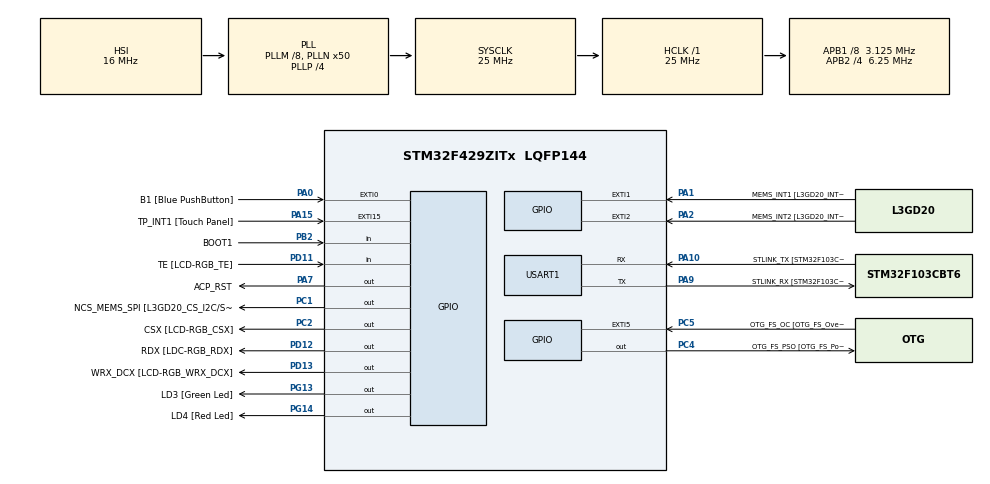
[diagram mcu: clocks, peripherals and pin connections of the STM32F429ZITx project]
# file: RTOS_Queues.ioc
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FREERTOS.Tasks01=defaultTask,0,128,StartDefaultTask,Default,NULL,Dynamic,NULL,NULL
Mcu.Family=STM32F4
Mcu.Name=STM32F429ZITx
Mcu.Package=LQFP144
NVIC.PriorityGroup=NVIC_PRIORITYGROUP_4
NVIC.TIM5_IRQn=true\:15\:0\:false\:false\:true\:false\:false\:true\:true
NVIC.TimeBase=TIM5_IRQn
NVIC.TimeBaseIP=TIM5
NVIC.USART1_IRQn=true\:5\:0\:false\:false\:true\:true\:true\:true\:true
PA0/WKUP.GPIO_Label=B1 [Blue PushButton]
PA0/WKUP.GPIO_ModeDefaultEXTI=GPIO_MODE_EVT_RISING
PA0/WKUP.GPIO_PuPd=GPIO_NOPULL
PA0/WKUP.Signal=GPXTI0
PA1.GPIO_Label=MEMS_INT1 [L3GD20_INT1]
PA1.GPIO_ModeDefaultEXTI=GPIO_MODE_EVT_RISING
PA1.GPIO_PuPd=GPIO_NOPULL
PA1.Signal=GPXTI1
PA10.GPIO_Label=STLINK_TX [STM32F103CBT6_PA2]
PA10.Mode=Asynchronous
PA10.Signal=USART1_RX
PA11.GPIO_Label=R4
PA11.GPIO_Mode=GPIO_MODE_AF_PP
PA11.GPIO_PuPd=GPIO_NOPULL
PA11.GPIO_Speed=GPIO_SPEED_FREQ_LOW
PA11.Signal=LTDC_R4
PA12.GPIO_Label=R5
PA12.GPIO_Mode=GPIO_MODE_AF_PP
PA12.GPIO_PuPd=GPIO_NOPULL
PA12.GPIO_Speed=GPIO_SPEED_FREQ_LOW
PA12.Signal=LTDC_R5
PA13.GPIO_Label=SWDIO
PA13.Signal=SYS_JTMS-SWDIO
PA14.GPIO_Label=SWCLK
PA14.Signal=SYS_JTCK-SWCLK
PA15.GPIO_Label=TP_INT1 [Touch Panel]
PA15.GPIO_ModeDefaultEXTI=GPIO_MODE_EVT_RISING
PA15.GPIO_PuPd=GPIO_NOPULL
PA15.Signal=GPXTI15
PA2.GPIO_Label=MEMS_INT2 [L3GD20_INT2]
PA2.GPIO_ModeDefaultEXTI=GPIO_MODE_EVT_RISING
PA2.GPIO_PuPd=GPIO_NOPULL
PA2.Signal=GPXTI2
PA3.GPIO_Label=B5
PA3.GPIO_Mode=GPIO_MODE_AF_PP
PA3.GPIO_PuPd=GPIO_NOPULL
PA3.GPIO_Speed=GPIO_SPEED_FREQ_LOW
PA3.Signal=LTDC_B5
PA4.GPIO_Label=VSYNC
PA4.GPIO_Mode=GPIO_MODE_AF_PP
PA4.GPIO_PuPd=GPIO_NOPULL
PA4.GPIO_Speed=GPIO_SPEED_FREQ_LOW
PA4.Signal=LTDC_VSYNC
PA6.GPIO_Label=G2
PA6.GPIO_Mode=GPIO_MODE_AF_PP
PA6.GPIO_PuPd=GPIO_NOPULL
PA6.GPIO_Speed=GPIO_SPEED_FREQ_LOW
PA6.Signal=LTDC_G2
PA7.GPIO_Label=ACP_RST
PA7.GPIO_Mode=GPIO_MODE_OUTPUT_PP
PA7.GPIO_PuPd=GPIO_NOPULL
PA7.GPIO_Speed=GPIO_SPEED_FREQ_LOW
PA7.Signal=GPIO_Output
PA8.GPIO_Label=I2C3_SCL [ACP/RF_SCL]
PA8.GPIO_Mode=GPIO_MODE_AF_OD
PA8.GPIO_PuPd=GPIO_NOPULL
PA8.GPIO_Speed=GPIO_SPEED_FREQ_LOW
PA8.Signal=I2C3_SCL
PA9.GPIO_Label=STLINK_RX [STM32F103CBT6_PA3]
PA9.Mode=Asynchronous
PA9.Signal=USART1_TX
PB0.GPIO_Label=R3
PB0.GPIO_Mode=GPIO_MODE_AF_PP
PB0.GPIO_PuPd=GPIO_NOPULL
PB0.GPIO_Speed=GPIO_SPEED_FREQ_LOW
PB0.Signal=LTDC_R3
PB1.GPIO_Label=R6
PB1.GPIO_Mode=GPIO_MODE_AF_PP
PB1.GPIO_PuPd=GPIO_NOPULL
PB1.GPIO_Speed=GPIO_SPEED_FREQ_LOW
PB1.Signal=LTDC_R6
PB10.GPIO_Label=G4
PB10.GPIO_Mode=GPIO_MODE_AF_PP
PB10.GPIO_PuPd=GPIO_NOPULL
PB10.GPIO_Speed=GPIO_SPEED_FREQ_LOW
PB10.Signal=LTDC_G4
PB11.GPIO_Label=G5
PB11.GPIO_Mode=GPIO_MODE_AF_PP
PB11.GPIO_PuPd=GPIO_NOPULL
PB11.GPIO_Speed=GPIO_SPEED_FREQ_LOW
PB11.Signal=LTDC_G5
PB12.GPIO_Label=OTG_HS_ID
PB12.GPIO_Mode=GPIO_MODE_AF_PP
PB12.GPIO_PuPd=GPIO_NOPULL
PB12.GPIO_Speed=GPIO_SPEED_FREQ_LOW
PB12.Signal=USB_OTG_HS_ID
PB13.GPIO_Label=VBUS_HS
PB13.GPIO_Mode=GPIO_MODE_INPUT
PB13.GPIO_PuPd=GPIO_NOPULL
PB13.Signal=USB_OTG_HS_VBUS
PB14.GPIO_Label=OTG_HS_DM
PB14.GPIO_Mode=GPIO_MODE_AF_PP
PB14.GPIO_PuPd=GPIO_NOPULL
PB14.GPIO_Speed=GPIO_SPEED_FREQ_LOW
PB14.Signal=USB_OTG_HS_DM
PB15.GPIO_Label=OTG_HS_DP
PB15.GPIO_Mode=GPIO_MODE_AF_PP
PB15.GPIO_PuPd=GPIO_NOPULL
PB15.GPIO_Speed=GPIO_SPEED_FREQ_LOW
PB15.Signal=USB_OTG_HS_DP
PB2/BOOT1.GPIO_Label=BOOT1
PB2/BOOT1.GPIO_Mode=GPIO_MODE_INPUT
PB2/BOOT1.GPIO_PuPd=GPIO_NOPULL
PB2/BOOT1.Signal=GPIO_Input
PB5.GPIO_Label=SDCKE1
PB5.GPIO_Mode=GPIO_MODE_AF_PP
PB5.GPIO_PuPd=GPIO_NOPULL
PB5.GPIO_Speed=GPIO_SPEED_FREQ_VERY_HIGH
PB5.Signal=FMC_SDCKE1
PB6.GPIO_Label=SDNE1 [SDRAM_CS]
PB6.GPIO_Mode=GPIO_MODE_AF_PP
PB6.GPIO_PuPd=GPIO_NOPULL
PB6.GPIO_Speed=GPIO_SPEED_FREQ_VERY_HIGH
PB6.Signal=FMC_SDNE1
PB8.GPIO_Label=B6
PB8.GPIO_Mode=GPIO_MODE_AF_PP
PB8.GPIO_PuPd=GPIO_NOPULL
PB8.GPIO_Speed=GPIO_SPEED_FREQ_LOW
PB8.Signal=LTDC_B6
PB9.GPIO_Label=B7
PB9.GPIO_Mode=GPIO_MODE_AF_PP
PB9.GPIO_PuPd=GPIO_NOPULL
PB9.GPIO_Speed=GPIO_SPEED_FREQ_LOW
PB9.Signal=LTDC_B7
PC0.GPIO_Label=SDNWE
PC0.GPIO_Mode=GPIO_MODE_AF_PP
PC0.GPIO_PuPd=GPIO_NOPULL
PC0.GPIO_Speed=GPIO_SPEED_FREQ_VERY_HIGH
PC0.Signal=FMC_SDNWE
PC1.GPIO_Label=NCS_MEMS_SPI [L3GD20_CS_I2C/SPI]
PC1.GPIO_Mode=GPIO_MODE_OUTPUT_PP
PC1.GPIO_PuPd=GPIO_NOPULL
PC1.GPIO_Speed=GPIO_SPEED_FREQ_LOW
PC1.Signal=GPIO_Output
PC10.GPIO_Label=R2
PC10.GPIO_Mode=GPIO_MODE_AF_PP
PC10.GPIO_PuPd=GPIO_NOPULL
PC10.GPIO_Speed=GPIO_SPEED_FREQ_LOW
PC10.Signal=LTDC_R2
PC14/OSC32_IN.GPIO_Label=PC14-OSC32_IN
PC14/OSC32_IN.Signal=RCC_OSC32_IN
PC15/OSC32_OUT.GPIO_Label=PC15-OSC32_OUT
PC15/OSC32_OUT.Signal=RCC_OSC32_OUT
PC2.GPIO_Label=CSX [LCD-RGB_CSX]
PC2.GPIO_Mode=GPIO_MODE_OUTPUT_PP
PC2.GPIO_PuPd=GPIO_NOPULL
PC2.GPIO_Speed=GPIO_SPEED_FREQ_LOW
PC2.Signal=GPIO_Output
PC4.GPIO_Label=OTG_FS_PSO [OTG_FS_PowerSwitchOn]
PC4.GPIO_Mode=GPIO_MODE_OUTPUT_PP
PC4.GPIO_PuPd=GPIO_NOPULL
PC4.GPIO_Speed=GPIO_SPEED_FREQ_LOW
PC4.Signal=GPIO_Output
PC5.GPIO_Label=OTG_FS_OC [OTG_FS_OverCurrent]
PC5.GPIO_ModeDefaultEXTI=GPIO_MODE_EVT_RISING
PC5.Signal=GPXTI5
PC6.GPIO_Label=HSYNC
PC6.GPIO_Mode=GPIO_MODE_AF_PP
PC6.GPIO_PuPd=GPIO_NOPULL
PC6.GPIO_Speed=GPIO_SPEED_FREQ_LOW
PC6.Signal=LTDC_HSYNC
PC7.GPIO_Label=G6
PC7.GPIO_Mode=GPIO_MODE_AF_PP
PC7.GPIO_PuPd=GPIO_NOPULL
PC7.GPIO_Speed=GPIO_SPEED_FREQ_LOW
PC7.Signal=LTDC_G6
PC9.GPIO_Label=I2C3_SDA [ACP/RF_SDA]
PC9.GPIO_Mode=GPIO_MODE_AF_OD
PC9.GPIO_PuPd=GPIO_NOPULL
PC9.GPIO_Speed=GPIO_SPEED_FREQ_LOW
PC9.Signal=I2C3_SDA
PD0.GPIO_Label=D2
PD0.GPIO_Mode=GPIO_MODE_AF_PP
PD0.GPIO_PuPd=GPIO_NOPULL
PD0.GPIO_Speed=GPIO_SPEED_FREQ_VERY_HIGH
PD0.Signal=FMC_D2_DA2
PD1.GPIO_Label=D3
PD1.GPIO_Mode=GPIO_MODE_AF_PP
PD1.GPIO_PuPd=GPIO_NOPULL
PD1.GPIO_Speed=GPIO_SPEED_FREQ_VERY_HIGH
PD1.Signal=FMC_D3_DA3
PD10.GPIO_Label=D15
PD10.GPIO_Mode=GPIO_MODE_AF_PP
PD10.GPIO_PuPd=GPIO_NOPULL
PD10.GPIO_Speed=GPIO_SPEED_FREQ_VERY_HIGH
PD10.Signal=FMC_D15_DA15
PD11.GPIO_Label=TE [LCD-RGB_TE]
PD11.GPIO_Mode=GPIO_MODE_INPUT
PD11.GPIO_PuPd=GPIO_NOPULL
PD11.Signal=GPIO_Input
PD12.GPIO_Label=RDX [LDC-RGB_RDX]
PD12.GPIO_Mode=GPIO_MODE_OUTPUT_PP
PD12.GPIO_PuPd=GPIO_NOPULL
PD12.GPIO_Speed=GPIO_SPEED_FREQ_LOW
PD12.Signal=GPIO_Output
PD13.GPIO_Label=WRX_DCX [LCD-RGB_WRX_DCX]
PD13.GPIO_Mode=GPIO_MODE_OUTPUT_PP
PD13.GPIO_PuPd=GPIO_NOPULL
PD13.GPIO_Speed=GPIO_SPEED_FREQ_LOW
PD13.Signal=GPIO_Output
PD14.GPIO_Label=D0
PD14.GPIO_Mode=GPIO_MODE_AF_PP
PD14.GPIO_PuPd=GPIO_NOPULL
PD14.GPIO_Speed=GPIO_SPEED_FREQ_VERY_HIGH
PD14.Signal=FMC_D0_DA0
PD15.GPIO_Label=D1
PD15.GPIO_Mode=GPIO_MODE_AF_PP
PD15.GPIO_PuPd=GPIO_NOPULL
PD15.GPIO_Speed=GPIO_SPEED_FREQ_VERY_HIGH
PD15.Signal=FMC_D1_DA1
PD3.GPIO_Label=G7
PD3.GPIO_Mode=GPIO_MODE_AF_PP
PD3.GPIO_PuPd=GPIO_NOPULL
PD3.GPIO_Speed=GPIO_SPEED_FREQ_LOW
PD3.Signal=LTDC_G7
PD6.GPIO_Label=B2
PD6.GPIO_Mode=GPIO_MODE_AF_PP
PD6.GPIO_PuPd=GPIO_NOPULL
PD6.GPIO_Speed=GPIO_SPEED_FREQ_LOW
PD6.Signal=LTDC_B2
PD8.GPIO_Label=D13
PD8.GPIO_Mode=GPIO_MODE_AF_PP
PD8.GPIO_PuPd=GPIO_NOPULL
PD8.GPIO_Speed=GPIO_SPEED_FREQ_VERY_HIGH
PD8.Signal=FMC_D13_DA13
PD9.GPIO_Label=D14
PD9.GPIO_Mode=GPIO_MODE_AF_PP
PD9.GPIO_PuPd=GPIO_NOPULL
PD9.GPIO_Speed=GPIO_SPEED_FREQ_VERY_HIGH
PD9.Signal=FMC_D14_DA14
PE0.GPIO_Label=NBL0 [SDRAM_LDQM]
PE0.GPIO_Mode=GPIO_MODE_AF_PP
PE0.GPIO_PuPd=GPIO_NOPULL
PE0.GPIO_Speed=GPIO_SPEED_FREQ_VERY_HIGH
PE0.Signal=FMC_NBL0
PE1.GPIO_Label=NBL1 [SDRAM_UDQM]
PE1.GPIO_Mode=GPIO_MODE_AF_PP
PE1.GPIO_PuPd=GPIO_NOPULL
PE1.GPIO_Speed=GPIO_SPEED_FREQ_VERY_HIGH
PE1.Signal=FMC_NBL1
PE10.GPIO_Label=D7
PE10.GPIO_Mode=GPIO_MODE_AF_PP
PE10.GPIO_PuPd=GPIO_NOPULL
PE10.GPIO_Speed=GPIO_SPEED_FREQ_VERY_HIGH
PE10.Signal=FMC_D7_DA7
PE11.GPIO_Label=D8
PE11.GPIO_Mode=GPIO_MODE_AF_PP
PE11.GPIO_PuPd=GPIO_NOPULL
PE11.GPIO_Speed=GPIO_SPEED_FREQ_VERY_HIGH
PE11.Signal=FMC_D8_DA8
PE12.GPIO_Label=D9
PE12.GPIO_Mode=GPIO_MODE_AF_PP
PE12.GPIO_PuPd=GPIO_NOPULL
PE12.GPIO_Speed=GPIO_SPEED_FREQ_VERY_HIGH
PE12.Signal=FMC_D9_DA9
PE13.GPIO_Label=D10
PE13.GPIO_Mode=GPIO_MODE_AF_PP
PE13.GPIO_PuPd=GPIO_NOPULL
PE13.GPIO_Speed=GPIO_SPEED_FREQ_VERY_HIGH
PE13.Signal=FMC_D10_DA10
PE14.GPIO_Label=D11
PE14.GPIO_Mode=GPIO_MODE_AF_PP
PE14.GPIO_PuPd=GPIO_NOPULL
PE14.GPIO_Speed=GPIO_SPEED_FREQ_VERY_HIGH
PE14.Signal=FMC_D11_DA11
PE15.GPIO_Label=D12
PE15.GPIO_Mode=GPIO_MODE_AF_PP
PE15.GPIO_PuPd=GPIO_NOPULL
PE15.GPIO_Speed=GPIO_SPEED_FREQ_VERY_HIGH
PE15.Signal=FMC_D12_DA12
PE7.GPIO_Label=D4
PE7.GPIO_Mode=GPIO_MODE_AF_PP
PE7.GPIO_PuPd=GPIO_NOPULL
PE7.GPIO_Speed=GPIO_SPEED_FREQ_VERY_HIGH
PE7.Signal=FMC_D4_DA4
PE8.GPIO_Label=D5
PE8.GPIO_Mode=GPIO_MODE_AF_PP
PE8.GPIO_PuPd=GPIO_NOPULL
PE8.GPIO_Speed=GPIO_SPEED_FREQ_VERY_HIGH
PE8.Signal=FMC_D5_DA5
PE9.GPIO_Label=D6
PE9.GPIO_Mode=GPIO_MODE_AF_PP
PE9.GPIO_PuPd=GPIO_NOPULL
PE9.GPIO_Speed=GPIO_SPEED_FREQ_VERY_HIGH
PE9.Signal=FMC_D6_DA6
PF0.GPIO_Label=A0
PF0.GPIO_Mode=GPIO_MODE_AF_PP
PF0.GPIO_PuPd=GPIO_NOPULL
PF0.GPIO_Speed=GPIO_SPEED_FREQ_VERY_HIGH
PF0.Signal=FMC_A0
PF1.GPIO_Label=A1
PF1.GPIO_Mode=GPIO_MODE_AF_PP
PF1.GPIO_PuPd=GPIO_NOPULL
PF1.GPIO_Speed=GPIO_SPEED_FREQ_VERY_HIGH
PF1.Signal=FMC_A1
PF10.GPIO_Label=ENABLE [LCD-RGB_ENABLE]
PF10.GPIO_Mode=GPIO_MODE_AF_PP
PF10.GPIO_PuPd=GPIO_NOPULL
PF10.GPIO_Speed=GPIO_SPEED_FREQ_LOW
PF10.Signal=LTDC_DE
PF11.GPIO_Label=SDNRAS
PF11.GPIO_Mode=GPIO_MODE_AF_PP
PF11.GPIO_PuPd=GPIO_NOPULL
PF11.GPIO_Speed=GPIO_SPEED_FREQ_VERY_HIGH
PF11.Signal=FMC_SDNRAS
PF12.GPIO_Label=A6
PF12.GPIO_Mode=GPIO_MODE_AF_PP
PF12.GPIO_PuPd=GPIO_NOPULL
PF12.GPIO_Speed=GPIO_SPEED_FREQ_VERY_HIGH
PF12.Signal=FMC_A6
PF13.GPIO_Label=A7
PF13.GPIO_Mode=GPIO_MODE_AF_PP
PF13.GPIO_PuPd=GPIO_NOPULL
PF13.GPIO_Speed=GPIO_SPEED_FREQ_VERY_HIGH
PF13.Signal=FMC_A7
PF14.GPIO_Label=A8
PF14.GPIO_Mode=GPIO_MODE_AF_PP
PF14.GPIO_PuPd=GPIO_NOPULL
PF14.GPIO_Speed=GPIO_SPEED_FREQ_VERY_HIGH
PF14.Signal=FMC_A8
PF15.GPIO_Label=A9
PF15.GPIO_Mode=GPIO_MODE_AF_PP
PF15.GPIO_PuPd=GPIO_NOPULL
PF15.GPIO_Speed=GPIO_SPEED_FREQ_VERY_HIGH
PF15.Signal=FMC_A9
PF2.GPIO_Label=A2
PF2.GPIO_Mode=GPIO_MODE_AF_PP
PF2.GPIO_PuPd=GPIO_NOPULL
PF2.GPIO_Speed=GPIO_SPEED_FREQ_VERY_HIGH
PF2.Signal=FMC_A2
PF3.GPIO_Label=A3
PF3.GPIO_Mode=GPIO_MODE_AF_PP
PF3.GPIO_PuPd=GPIO_NOPULL
PF3.GPIO_Speed=GPIO_SPEED_FREQ_VERY_HIGH
PF3.Signal=FMC_A3
PF4.GPIO_Label=A4
PF4.GPIO_Mode=GPIO_MODE_AF_PP
PF4.GPIO_PuPd=GPIO_NOPULL
PF4.GPIO_Speed=GPIO_SPEED_FREQ_VERY_HIGH
PF4.Signal=FMC_A4
PF5.GPIO_Label=A5
PF5.GPIO_Mode=GPIO_MODE_AF_PP
PF5.GPIO_PuPd=GPIO_NOPULL
PF5.GPIO_Speed=GPIO_SPEED_FREQ_VERY_HIGH
PF5.Signal=FMC_A5
PF7.GPIO_Label=SPI5_SCK [L3GD20_SCL/SPC]
PF7.GPIO_Mode=GPIO_MODE_AF_PP
PF7.GPIO_PuPd=GPIO_NOPULL
PF7.GPIO_Speed=GPIO_SPEED_FREQ_LOW
PF7.Signal=SPI5_SCK
PF8.GPIO_Label=SPI5_MISO [L3GD20_SDO]
PF8.GPIO_Mode=GPIO_MODE_AF_PP
PF8.GPIO_PuPd=GPIO_NOPULL
PF8.GPIO_Speed=GPIO_SPEED_FREQ_LOW
PF8.Signal=SPI5_MISO
PF9.GPIO_Label=SPI5_MOSI [L3GD20_SDA/SDI/SDO]
PF9.GPIO_Mode=GPIO_MODE_AF_PP
PF9.GPIO_PuPd=GPIO_NOPULL
PF9.GPIO_Speed=GPIO_SPEED_FREQ_LOW
PF9.Signal=SPI5_MOSI
PG0.GPIO_Label=A10
PG0.GPIO_Mode=GPIO_MODE_AF_PP
PG0.GPIO_PuPd=GPIO_NOPULL
PG0.GPIO_Speed=GPIO_SPEED_FREQ_VERY_HIGH
PG0.Signal=FMC_A10
PG1.GPIO_Label=A11
PG1.GPIO_Mode=GPIO_MODE_AF_PP
PG1.GPIO_PuPd=GPIO_NOPULL
PG1.GPIO_Speed=GPIO_SPEED_FREQ_VERY_HIGH
PG1.Signal=FMC_A11
PG10.GPIO_Label=G3
PG10.GPIO_Mode=GPIO_MODE_AF_PP
PG10.GPIO_PuPd=GPIO_NOPULL
PG10.GPIO_Speed=GPIO_SPEED_FREQ_LOW
PG10.Signal=LTDC_G3
PG11.GPIO_Label=B3
PG11.GPIO_Mode=GPIO_MODE_AF_PP
PG11.GPIO_PuPd=GPIO_NOPULL
PG11.GPIO_Speed=GPIO_SPEED_FREQ_LOW
PG11.Signal=LTDC_B3
PG12.GPIO_Label=B4
PG12.GPIO_Mode=GPIO_MODE_AF_PP
PG12.GPIO_PuPd=GPIO_NOPULL
PG12.GPIO_Speed=GPIO_SPEED_FREQ_LOW
PG12.Signal=LTDC_B4
PG13.GPIO_Label=LD3 [Green Led]
PG13.GPIO_Mode=GPIO_MODE_OUTPUT_PP
PG13.GPIO_PuPd=GPIO_NOPULL
PG13.GPIO_Speed=GPIO_SPEED_FREQ_LOW
PG13.Signal=GPIO_Output
PG14.GPIO_Label=LD4 [Red Led]
PG14.GPIO_Mode=GPIO_MODE_OUTPUT_PP
PG14.GPIO_PuPd=GPIO_NOPULL
PG14.GPIO_Speed=GPIO_SPEED_FREQ_LOW
PG14.Signal=GPIO_Output
PG15.GPIO_Label=SDNCAS
PG15.GPIO_Mode=GPIO_MODE_AF_PP
PG15.GPIO_PuPd=GPIO_NOPULL
PG15.GPIO_Speed=GPIO_SPEED_FREQ_VERY_HIGH
PG15.Signal=FMC_SDNCAS
PG4.GPIO_Label=BA0
PG4.GPIO_Mode=GPIO_MODE_AF_PP
PG4.GPIO_PuPd=GPIO_NOPULL
PG4.GPIO_Speed=GPIO_SPEED_FREQ_VERY_HIGH
PG4.Signal=FMC_A14_BA0
PG5.GPIO_Label=BA1
PG5.GPIO_Mode=GPIO_MODE_AF_PP
PG5.GPIO_PuPd=GPIO_NOPULL
PG5.GPIO_Speed=GPIO_SPEED_FREQ_VERY_HIGH
PG5.Signal=FMC_A15_BA1
PG6.GPIO_Label=R7
PG6.GPIO_Mode=GPIO_MODE_AF_PP
PG6.GPIO_PuPd=GPIO_NOPULL
PG6.GPIO_Speed=GPIO_SPEED_FREQ_LOW
PG6.Signal=LTDC_R7
PG7.GPIO_Label=DOTCLK [LCT-RGB_DOTCLK]
PG7.GPIO_Mode=GPIO_MODE_AF_PP
PG7.GPIO_PuPd=GPIO_NOPULL
PG7.GPIO_Speed=GPIO_SPEED_FREQ_LOW
PG7.Signal=LTDC_CLK
PG8.GPIO_Label=SDCLK
PG8.GPIO_Mode=GPIO_MODE_AF_PP
PG8.GPIO_PuPd=GPIO_NOPULL
PG8.GPIO_Speed=GPIO_SPEED_FREQ_VERY_HIGH
PG8.Signal=FMC_SDCLK
PH0/OSC_IN.GPIO_Label=PH0-OSC_IN
PH0/OSC_IN.Signal=RCC_OSC_IN
PH1/OSC_OUT.GPIO_Label=PH1-OSC_OUT
PH1/OSC_OUT.Signal=RCC_OSC_OUT
ProjectManager.HeapSize=0x200
ProjectManager.StackSize=0x400
ProjectManager.TargetToolchain=STM32CubeIDE
RCC.48MHZClocksFreq_Value=14285714.285714285
RCC.AHBFreq_Value=25000000
RCC.APB1CLKDivider=RCC_HCLK_DIV8
RCC.APB1Freq_Value=3125000
RCC.APB1TimFreq_Value=6250000
RCC.APB2CLKDivider=RCC_HCLK_DIV4
RCC.APB2Freq_Value=6250000
RCC.APB2TimFreq_Value=12500000
RCC.CortexFreq_Value=25000000
RCC.HCLKFreq_Value=25000000
RCC.HSE_VALUE=8000000
RCC.HSI_VALUE=16000000
RCC.LSE_VALUE=32768
RCC.PLLM=8
RCC.PLLN=50
RCC.PLLP=RCC_PLLP_DIV4
RCC.PLLQ=7
RCC.SYSCLKFreq_VALUE=25000000
RCC.SYSCLKSource=RCC_SYSCLKSOURCE_PLLCLK
RCC.VCOOutputFreq_Value=100000000
SH.FMC_A0.0=FMC_A0
SH.FMC_A1.0=FMC_A1
SH.FMC_A10.0=FMC_A10
SH.FMC_A11.0=FMC_A11
SH.FMC_A14_BA0.0=FMC_BA0
SH.FMC_A15_BA1.0=FMC_BA1
SH.FMC_A2.0=FMC_A2
SH.FMC_A3.0=FMC_A3
SH.FMC_A4.0=FMC_A4
SH.FMC_A5.0=FMC_A5
SH.FMC_A6.0=FMC_A6
SH.FMC_A7.0=FMC_A7
SH.FMC_A8.0=FMC_A8
SH.FMC_A9.0=FMC_A9
SH.FMC_D0_DA0.0=FMC_D0
SH.FMC_D10_DA10.0=FMC_D10
SH.FMC_D11_DA11.0=FMC_D11
SH.FMC_D12_DA12.0=FMC_D12
SH.FMC_D13_DA13.0=FMC_D13
SH.FMC_D14_DA14.0=FMC_D14
SH.FMC_D15_DA15.0=FMC_D15
SH.FMC_D1_DA1.0=FMC_D1
SH.FMC_D2_DA2.0=FMC_D2
SH.FMC_D3_DA3.0=FMC_D3
SH.FMC_D4_DA4.0=FMC_D4
SH.FMC_D5_DA5.0=FMC_D5
SH.FMC_D6_DA6.0=FMC_D6
SH.FMC_D7_DA7.0=FMC_D7
SH.FMC_D8_DA8.0=FMC_D8
SH.FMC_D9_DA9.0=FMC_D9
SH.FMC_NBL0.0=FMC_NBL0
SH.FMC_NBL1.0=FMC_NBL1
SH.FMC_SDCLK.0=FMC_SDCLK
SH.FMC_SDNCAS.0=FMC_SDNCAS
SH.FMC_SDNRAS.0=FMC_SDNRAS
SH.FMC_SDNWE.0=FMC_SDNWE
USART1.VirtualMode=VM_ASYNC
VP_FREERTOS_VS_CMSIS_V1.Mode=CMSIS_V1
VP_SYS_VS_tim5.Mode=TIM5
board=STM32F429I-DISC1

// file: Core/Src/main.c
/* USER CODE BEGIN Header */
/**
  ******************************************************************************
  * @file           : main.c
  * @brief          : Main program body
  ******************************************************************************
  * @attention
  *
  * Copyright (c) 2024 STMicroelectronics.
  * All rights reserved.
  *
  * This software is licensed under terms that can be found in the LICENSE file
  * in the root directory of this software component.
  * If no LICENSE file comes with this software, it is provided AS-IS.
  *
  ******************************************************************************
  */
/* USER CODE END Header */
#include "main.h"

/* USER CODE BEGIN Includes */
#include "FreeRTOS.h"
#include "task.h"
#include "timers.h"
#include "queue.h"
#include "semphr.h"
#include "event_groups.h"
#include "string.h"
#include "stdio.h"

/* USER CODE END Includes */

UART_HandleTypeDef huart1;

void SystemClock_Config(void);
static void MX_GPIO_Init(void);
static void MX_USART1_UART_Init(void);

/* USER CODE BEGIN 0 */
//*************** TASK Handlers********** ////
xTaskHandle Sender_HPT_Handler;
xTaskHandle Sender_LPT_Handler;
xTaskHandle Receiver_Handler;

//***** Queue Handler************/////

xQueueHandle SimpleQueue;

//*******TASK Functions*******/////

void Sender_HPT_Task (void* arguement);
void Sender_LPT_Task (void* arguement);
void Receiver_Task (void* arguement);

uint8_t Rx_data;

/* USER CODE END 0 */

int main(void)
{

  /* MCU Configuration--------------------------------------------------------*/

  /* Reset of all peripherals, Initializes the Flash interface and the Systick. */
  HAL_Init();

  /* Configure the system clock */
  SystemClock_Config();

  /* Initialize all configured peripherals */
  MX_GPIO_Init();
  MX_USART1_UART_Init();
  /* USER CODE BEGIN 2 */

//*********Create Queue**********//

  SimpleQueue = xQueueCreate(5,sizeof(int));

  if (SimpleQueue == 0)
  {
	  char *str = "Unable to create Integer Queue \n\r";
	  HAL_UART_Transmit(&huart1, (uint8_t*)str,strlen(str),HAL_MAX_DELAY);
  }
  else
  {
	  char *str = "Created Integer Queue Successfully \n\r";
	  HAL_UART_Transmit(&huart1, (uint8_t*)str,strlen(str),HAL_MAX_DELAY);
  }

//******************TASK CREATION***********//

  xTaskCreate(Sender_HPT_Task, "HPT_SEND",128,NULL,3,&Sender_HPT_Handler);
  xTaskCreate(Sender_LPT_Task, "LPT_SEND",128,(void *)111,2,&Sender_LPT_Handler);

  xTaskCreate(Receiver_Task, "Receive",128,NULL,1,&Receiver_Handler);

  HAL_UART_Receive_IT(&huart1, &Rx_data,1);

  vTaskStartScheduler();

  /* USER CODE END 2 */

  /* We should never get here as control is now taken by the scheduler */

  /* Infinite loop */
  while (1)
  {

  }
}

void SystemClock_Config(void)
{
  RCC_OscInitTypeDef RCC_OscInitStruct = {0};
  RCC_ClkInitTypeDef RCC_ClkInitStruct = {0};

  /** Configure the main internal regulator output voltage
  */
  __HAL_RCC_PWR_CLK_ENABLE();
  __HAL_PWR_VOLTAGESCALING_CONFIG(PWR_REGULATOR_VOLTAGE_SCALE3);

  /** Initializes the RCC Oscillators according to the specified parameters
  * in the RCC_OscInitTypeDef structure.
  */
  RCC_OscInitStruct.OscillatorType = RCC_OSCILLATORTYPE_HSI;
  RCC_OscInitStruct.HSIState = RCC_HSI_ON;
  RCC_OscInitStruct.HSICalibrationValue = RCC_HSICALIBRATION_DEFAULT;
  RCC_OscInitStruct.PLL.PLLState = RCC_PLL_ON;
  RCC_OscInitStruct.PLL.PLLSource = RCC_PLLSOURCE_HSI;
  RCC_OscInitStruct.PLL.PLLM = 8;
  RCC_OscInitStruct.PLL.PLLN = 50;
  RCC_OscInitStruct.PLL.PLLP = RCC_PLLP_DIV4;
  RCC_OscInitStruct.PLL.PLLQ = 7;
  if (HAL_RCC_OscConfig(&RCC_OscInitStruct) != HAL_OK)
  {
    Error_Handler();
  }

  /** Initializes the CPU, AHB and APB buses clocks
  */
  RCC_ClkInitStruct.ClockType = RCC_CLOCKTYPE_HCLK|RCC_CLOCKTYPE_SYSCLK
                              |RCC_CLOCKTYPE_PCLK1|RCC_CLOCKTYPE_PCLK2;
  RCC_ClkInitStruct.SYSCLKSource = RCC_SYSCLKSOURCE_PLLCLK;
  RCC_ClkInitStruct.AHBCLKDivider = RCC_SYSCLK_DIV1;
  RCC_ClkInitStruct.APB1CLKDivider = RCC_HCLK_DIV8;
  RCC_ClkInitStruct.APB2CLKDivider = RCC_HCLK_DIV4;

  if (HAL_RCC_ClockConfig(&RCC_ClkInitStruct, FLASH_LATENCY_0) != HAL_OK)
  {
    Error_Handler();
  }
}

static void MX_USART1_UART_Init(void)
{

  huart1.Instance = USART1;
  huart1.Init.BaudRate = 115200;
  huart1.Init.WordLength = UART_WORDLENGTH_8B;
  huart1.Init.StopBits = UART_STOPBITS_1;
  huart1.Init.Parity = UART_PARITY_NONE;
  huart1.Init.Mode = UART_MODE_TX_RX;
  huart1.Init.HwFlowCtl = UART_HWCONTROL_NONE;
  huart1.Init.OverSampling = UART_OVERSAMPLING_16;
  if (HAL_UART_Init(&huart1) != HAL_OK)
  {
    Error_Handler();
  }

}

static void MX_GPIO_Init(void)
{
  GPIO_InitTypeDef GPIO_InitStruct = {0};

  /* GPIO Ports Clock Enable */
  __HAL_RCC_GPIOC_CLK_ENABLE();
  __HAL_RCC_GPIOF_CLK_ENABLE();
  __HAL_RCC_GPIOH_CLK_ENABLE();
  __HAL_RCC_GPIOA_CLK_ENABLE();
  __HAL_RCC_GPIOB_CLK_ENABLE();
  __HAL_RCC_GPIOG_CLK_ENABLE();
  __HAL_RCC_GPIOE_CLK_ENABLE();
  __HAL_RCC_GPIOD_CLK_ENABLE();

  /*Configure GPIO pin Output Level */
  HAL_GPIO_WritePin(GPIOC, NCS_MEMS_SPI_Pin|CSX_Pin|OTG_FS_PSO_Pin, GPIO_PIN_RESET);

  /*Configure GPIO pin Output Level */
  HAL_GPIO_WritePin(ACP_RST_GPIO_Port, ACP_RST_Pin, GPIO_PIN_RESET);

  /*Configure GPIO pin Output Level */
  HAL_GPIO_WritePin(GPIOD, RDX_Pin|WRX_DCX_Pin, GPIO_PIN_RESET);

  /*Configure GPIO pin Output Level */
  HAL_GPIO_WritePin(GPIOG, LD3_Pin|LD4_Pin, GPIO_PIN_RESET);

  /*Configure GPIO pins : A0_Pin A1_Pin A2_Pin A3_Pin
                           A4_Pin A5_Pin SDNRAS_Pin A6_Pin
                           A7_Pin A8_Pin A9_Pin */
  GPIO_InitStruct.Pin = A0_Pin|A1_Pin|A2_Pin|A3_Pin
                          |A4_Pin|A5_Pin|SDNRAS_Pin|A6_Pin
                          |A7_Pin|A8_Pin|A9_Pin;
  GPIO_InitStruct.Mode = GPIO_MODE_AF_PP;
  GPIO_InitStruct.Pull = GPIO_NOPULL;
  GPIO_InitStruct.Speed = GPIO_SPEED_FREQ_VERY_HIGH;
  GPIO_InitStruct.Alternate = GPIO_AF12_FMC;
  HAL_GPIO_Init(GPIOF, &GPIO_InitStruct);

  /*Configure GPIO pins : SPI5_SCK_Pin SPI5_MISO_Pin SPI5_MOSI_Pin */
  GPIO_InitStruct.Pin = SPI5_SCK_Pin|SPI5_MISO_Pin|SPI5_MOSI_Pin;
  GPIO_InitStruct.Mode = GPIO_MODE_AF_PP;
  GPIO_InitStruct.Pull = GPIO_NOPULL;
  GPIO_InitStruct.Speed = GPIO_SPEED_FREQ_LOW;
  GPIO_InitStruct.Alternate = GPIO_AF5_SPI5;
  HAL_GPIO_Init(GPIOF, &GPIO_InitStruct);

  /*Configure GPIO pin : ENABLE_Pin */
  GPIO_InitStruct.Pin = ENABLE_Pin;
  GPIO_InitStruct.Mode = GPIO_MODE_AF_PP;
  GPIO_InitStruct.Pull = GPIO_NOPULL;
  GPIO_InitStruct.Speed = GPIO_SPEED_FREQ_LOW;
  GPIO_InitStruct.Alternate = GPIO_AF14_LTDC;
  HAL_GPIO_Init(ENABLE_GPIO_Port, &GPIO_InitStruct);

  /*Configure GPIO pin : SDNWE_Pin */
  GPIO_InitStruct.Pin = SDNWE_Pin;
  GPIO_InitStruct.Mode = GPIO_MODE_AF_PP;
  GPIO_InitStruct.Pull = GPIO_NOPULL;
  GPIO_InitStruct.Speed = GPIO_SPEED_FREQ_VERY_HIGH;
  GPIO_InitStruct.Alternate = GPIO_AF12_FMC;
  HAL_GPIO_Init(SDNWE_GPIO_Port, &GPIO_InitStruct);

  /*Configure GPIO pins : NCS_MEMS_SPI_Pin CSX_Pin OTG_FS_PSO_Pin */
  GPIO_InitStruct.Pin = NCS_MEMS_SPI_Pin|CSX_Pin|OTG_FS_PSO_Pin;
  GPIO_InitStruct.Mode = GPIO_MODE_OUTPUT_PP;
  GPIO_InitStruct.Pull = GPIO_NOPULL;
  GPIO_InitStruct.Speed = GPIO_SPEED_FREQ_LOW;
  HAL_GPIO_Init(GPIOC, &GPIO_InitStruct);

  /*Configure GPIO pins : B1_Pin MEMS_INT1_Pin MEMS_INT2_Pin TP_INT1_Pin */
  GPIO_InitStruct.Pin = B1_Pin|MEMS_INT1_Pin|MEMS_INT2_Pin|TP_INT1_Pin;
  GPIO_InitStruct.Mode = GPIO_MODE_EVT_RISING;
  GPIO_InitStruct.Pull = GPIO_NOPULL;
  HAL_GPIO_Init(GPIOA, &GPIO_InitStruct);

  /*Configure GPIO pins : B5_Pin VSYNC_Pin G2_Pin R4_Pin
                           R5_Pin */
  GPIO_InitStruct.Pin = B5_Pin|VSYNC_Pin|G2_Pin|R4_Pin
                          |R5_Pin;
  GPIO_InitStruct.Mode = GPIO_MODE_AF_PP;
  GPIO_InitStruct.Pull = GPIO_NOPULL;
  GPIO_InitStruct.Speed = GPIO_SPEED_FREQ_LOW;
  GPIO_InitStruct.Alternate = GPIO_AF14_LTDC;
  HAL_GPIO_Init(GPIOA, &GPIO_InitStruct);

  /*Configure GPIO pin : ACP_RST_Pin */
  GPIO_InitStruct.Pin = ACP_RST_Pin;
  GPIO_InitStruct.Mode = GPIO_MODE_OUTPUT_PP;
  GPIO_InitStruct.Pull = GPIO_NOPULL;
  GPIO_InitStruct.Speed = GPIO_SPEED_FREQ_LOW;
  HAL_GPIO_Init(ACP_RST_GPIO_Port, &GPIO_InitStruct);

  /*Configure GPIO pin : OTG_FS_OC_Pin */
  GPIO_InitStruct.Pin = OTG_FS_OC_Pin;
  GPIO_InitStruct.Mode = GPIO_MODE_EVT_RISING;
  GPIO_InitStruct.Pull = GPIO_NOPULL;
  HAL_GPIO_Init(OTG_FS_OC_GPIO_Port, &GPIO_InitStruct);

  /*Configure GPIO pins : R3_Pin R6_Pin */
  GPIO_InitStruct.Pin = R3_Pin|R6_Pin;
  GPIO_InitStruct.Mode = GPIO_MODE_AF_PP;
  GPIO_InitStruct.Pull = GPIO_NOPULL;
  GPIO_InitStruct.Speed = GPIO_SPEED_FREQ_LOW;
  GPIO_InitStruct.Alternate = GPIO_AF9_LTDC;
  HAL_GPIO_Init(GPIOB, &GPIO_InitStruct);

  /*Configure GPIO pin : BOOT1_Pin */
  GPIO_InitStruct.Pin = BOOT1_Pin;
  GPIO_InitStruct.Mode = GPIO_MODE_INPUT;
  GPIO_InitStruct.Pull = GPIO_NOPULL;
  HAL_GPIO_Init(BOOT1_GPIO_Port, &GPIO_InitStruct);

  /*Configure GPIO pins : A10_Pin A11_Pin BA0_Pin BA1_Pin
                           SDCLK_Pin SDNCAS_Pin */
  GPIO_InitStruct.Pin = A10_Pin|A11_Pin|BA0_Pin|BA1_Pin
                          |SDCLK_Pin|SDNCAS_Pin;
  GPIO_InitStruct.Mode = GPIO_MODE_AF_PP;
  GPIO_InitStruct.Pull = GPIO_NOPULL;
  GPIO_InitStruct.Speed = GPIO_SPEED_FREQ_VERY_HIGH;
  GPIO_InitStruct.Alternate = GPIO_AF12_FMC;
  HAL_GPIO_Init(GPIOG, &GPIO_InitStruct);

  /*Configure GPIO pins : D4_Pin D5_Pin D6_Pin D7_Pin
                           D8_Pin D9_Pin D10_Pin D11_Pin
                           D12_Pin NBL0_Pin NBL1_Pin */
  GPIO_InitStruct.Pin = D4_Pin|D5_Pin|D6_Pin|D7_Pin
                          |D8_Pin|D9_Pin|D10_Pin|D11_Pin
                          |D12_Pin|NBL0_Pin|NBL1_Pin;
  GPIO_InitStruct.Mode = GPIO_MODE_AF_PP;
  GPIO_InitStruct.Pull = GPIO_NOPULL;
  GPIO_InitStruct.Speed = GPIO_SPEED_FREQ_VERY_HIGH;
  GPIO_InitStruct.Alternate = GPIO_AF12_FMC;
  HAL_GPIO_Init(GPIOE, &GPIO_InitStruct);

  /*Configure GPIO pins : G4_Pin G5_Pin B6_Pin B7_Pin */
  GPIO_InitStruct.Pin = G4_Pin|G5_Pin|B6_Pin|B7_Pin;
  GPIO_InitStruct.Mode = GPIO_MODE_AF_PP;
  GPIO_InitStruct.Pull = GPIO_NOPULL;
  GPIO_InitStruct.Speed = GPIO_SPEED_FREQ_LOW;
  GPIO_InitStruct.Alternate = GPIO_AF14_LTDC;
  HAL_GPIO_Init(GPIOB, &GPIO_InitStruct);

  /*Configure GPIO pins : OTG_HS_ID_Pin OTG_HS_DM_Pin OTG_HS_DP_Pin */
  GPIO_InitStruct.Pin = OTG_HS_ID_Pin|OTG_HS_DM_Pin|OTG_HS_DP_Pin;
  GPIO_InitStruct.Mode = GPIO_MODE_AF_PP;
  GPIO_InitStruct.Pull = GPIO_NOPULL;
  GPIO_InitStruct.Speed = GPIO_SPEED_FREQ_LOW;
  GPIO_InitStruct.Alternate = GPIO_AF12_OTG_HS_FS;
  HAL_GPIO_Init(GPIOB, &GPIO_InitStruct);

  /*Configure GPIO pin : VBUS_HS_Pin */
  GPIO_InitStruct.Pin = VBUS_HS_Pin;
  GPIO_InitStruct.Mode = GPIO_MODE_INPUT;
  GPIO_InitStruct.Pull = GPIO_NOPULL;
  HAL_GPIO_Init(VBUS_HS_GPIO_Port, &GPIO_InitStruct);

  /*Configure GPIO pins : D13_Pin D14_Pin D15_Pin D0_Pin
                           D1_Pin D2_Pin D3_Pin */
  GPIO_InitStruct.Pin = D13_Pin|D14_Pin|D15_Pin|D0_Pin
                          |D1_Pin|D2_Pin|D3_Pin;
  GPIO_InitStruct.Mode = GPIO_MODE_AF_PP;
  GPIO_InitStruct.Pull = GPIO_NOPULL;
  GPIO_InitStruct.Speed = GPIO_SPEED_FREQ_VERY_HIGH;
  GPIO_InitStruct.Alternate = GPIO_AF12_FMC;
  HAL_GPIO_Init(GPIOD, &GPIO_InitStruct);

  /*Configure GPIO pin : TE_Pin */
  GPIO_InitStruct.Pin = TE_Pin;
  GPIO_InitStruct.Mode = GPIO_MODE_INPUT;
  GPIO_InitStruct.Pull = GPIO_NOPULL;
  HAL_GPIO_Init(TE_GPIO_Port, &GPIO_InitStruct);

  /*Configure GPIO pins : RDX_Pin WRX_DCX_Pin */
  GPIO_InitStruct.Pin = RDX_Pin|WRX_DCX_Pin;
  GPIO_InitStruct.Mode = GPIO_MODE_OUTPUT_PP;
  GPIO_InitStruct.Pull = GPIO_NOPULL;
  GPIO_InitStruct.Speed = GPIO_SPEED_FREQ_LOW;
  HAL_GPIO_Init(GPIOD, &GPIO_InitStruct);

  /*Configure GPIO pins : R7_Pin DOTCLK_Pin B3_Pin */
  GPIO_InitStruct.Pin = R7_Pin|DOTCLK_Pin|B3_Pin;
  GPIO_InitStruct.Mode = GPIO_MODE_AF_PP;
  GPIO_InitStruct.Pull = GPIO_NOPULL;
  GPIO_InitStruct.Speed = GPIO_SPEED_FREQ_LOW;
  GPIO_InitStruct.Alternate = GPIO_AF14_LTDC;
  HAL_GPIO_Init(GPIOG, &GPIO_InitStruct);

  /*Configure GPIO pins : HSYNC_Pin G6_Pin R2_Pin */
  GPIO_InitStruct.Pin = HSYNC_Pin|G6_Pin|R2_Pin;
  GPIO_InitStruct.Mode = GPIO_MODE_AF_PP;
  GPIO_InitStruct.Pull = GPIO_NOPULL;
  GPIO_InitStruct.Speed = GPIO_SPEED_FREQ_LOW;
  GPIO_InitStruct.Alternate = GPIO_AF14_LTDC;
  HAL_GPIO_Init(GPIOC, &GPIO_InitStruct);

  /*Configure GPIO pin : I2C3_SDA_Pin */
  GPIO_InitStruct.Pin = I2C3_SDA_Pin;
  GPIO_InitStruct.Mode = GPIO_MODE_AF_OD;
  GPIO_InitStruct.Pull = GPIO_NOPULL;
  GPIO_InitStruct.Speed = GPIO_SPEED_FREQ_LOW;
  GPIO_InitStruct.Alternate = GPIO_AF4_I2C3;
  HAL_GPIO_Init(I2C3_SDA_GPIO_Port, &GPIO_InitStruct);

  /*Configure GPIO pin : I2C3_SCL_Pin */
  GPIO_InitStruct.Pin = I2C3_SCL_Pin;
  GPIO_InitStruct.Mode = GPIO_MODE_AF_OD;
  GPIO_InitStruct.Pull = GPIO_NOPULL;
  GPIO_InitStruct.Speed = GPIO_SPEED_FREQ_LOW;
  GPIO_InitStruct.Alternate = GPIO_AF4_I2C3;
  HAL_GPIO_Init(I2C3_SCL_GPIO_Port, &GPIO_InitStruct);

  /*Configure GPIO pins : G7_Pin B2_Pin */
  GPIO_InitStruct.Pin = G7_Pin|B2_Pin;
  GPIO_InitStruct.Mode = GPIO_MODE_AF_PP;
  GPIO_InitStruct.Pull = GPIO_NOPULL;
  GPIO_InitStruct.Speed = GPIO_SPEED_FREQ_LOW;
  GPIO_InitStruct.Alternate = GPIO_AF14_LTDC;
  HAL_GPIO_Init(GPIOD, &GPIO_InitStruct);

  /*Configure GPIO pins : G3_Pin B4_Pin */
  GPIO_InitStruct.Pin = G3_Pin|B4_Pin;
  GPIO_InitStruct.Mode = GPIO_MODE_AF_PP;
  GPIO_InitStruct.Pull = GPIO_NOPULL;
  GPIO_InitStruct.Speed = GPIO_SPEED_FREQ_LOW;
  GPIO_InitStruct.Alternate = GPIO_AF9_LTDC;
  HAL_GPIO_Init(GPIOG, &GPIO_InitStruct);

  /*Configure GPIO pins : LD3_Pin LD4_Pin */
  GPIO_InitStruct.Pin = LD3_Pin|LD4_Pin;
  GPIO_InitStruct.Mode = GPIO_MODE_OUTPUT_PP;
  GPIO_InitStruct.Pull = GPIO_NOPULL;
  GPIO_InitStruct.Speed = GPIO_SPEED_FREQ_LOW;
  HAL_GPIO_Init(GPIOG, &GPIO_InitStruct);

  /*Configure GPIO pins : SDCKE1_Pin SDNE1_Pin */
  GPIO_InitStruct.Pin = SDCKE1_Pin|SDNE1_Pin;
  GPIO_InitStruct.Mode = GPIO_MODE_AF_PP;
  GPIO_InitStruct.Pull = GPIO_NOPULL;
  GPIO_InitStruct.Speed = GPIO_SPEED_FREQ_VERY_HIGH;
  GPIO_InitStruct.Alternate = GPIO_AF12_FMC;
  HAL_GPIO_Init(GPIOB, &GPIO_InitStruct);

}

/* USER CODE BEGIN 4 */
void Sender_HPT_Task (void *argument)
{
	int i =222;
	uint32_t TickleDelay = pdMS_TO_TICKS(2000);
	while(1)
	{
		char *str1 = " Entered SENDER_HPT Task\r\n\n\n";
		HAL_UART_Transmit(&huart1, (uint8_t *)str1, strlen (str1), HAL_MAX_DELAY);

		if (xQueueSend (SimpleQueue, &i,portMAX_DELAY) == pdPASS)
		{
			char *str2 = " Successfully sent the number to the queue\n\rLeaving SENDER_HPT Task\r\n\n\n";
			HAL_UART_Transmit(&huart1, (uint8_t *)str2, strlen (str2), HAL_MAX_DELAY);
		}
		vTaskDelay(TickleDelay);
	}
}

void Sender_LPT_Task (void *argument)
{
	int ToSend;
	uint32_t TickleDelay = pdMS_TO_TICKS(1000);
	while(1)
	{
		ToSend = (int) argument;
		char *str1 = " Entered SENDER_LPT Task\r\n\n\n";
		HAL_UART_Transmit(&huart1, (uint8_t *)str1, strlen (str1), HAL_MAX_DELAY);

		xQueueSend (SimpleQueue, &ToSend,portMAX_DELAY) ;

		char *str2 = " Successfully sent the number to the queue\n\rLeaving SENDER_LPT Task\r\n\n\n";
		HAL_UART_Transmit(&huart1, (uint8_t *)str2, strlen (str2), HAL_MAX_DELAY);

		vTaskDelay(TickleDelay);
	}
}

void Receiver_Task (void *argument)
{
	int received=0;
	uint32_t TickDelay = pdMS_TO_TICKS(5000);
	while (1)
	{
		char str[100];
		strcpy (str, "Entered Receiver task \n \r")	;
		if (xQueueReceive(SimpleQueue, &received, portMAX_DELAY) != pdTRUE)
		{
			HAL_UART_Transmit(&huart1, (uint8_t *)"Error in Receiving from Queue\n\n \r", 31, 1000);
		}
		else
		{
			sprintf(str, " Successfully RECEIVED the number %d to the queue\n\rLeaving RECEIVER Task\r\n\n\n",received);
			HAL_UART_Transmit(&huart1, (uint8_t *)str, strlen (str), HAL_MAX_DELAY);
		}
		vTaskDelay(TickDelay);
	}
}

void HAL_UART_RxCpltCallback (UART_HandleTypeDef *huart)
{
	HAL_UART_Receive_IT(huart, &Rx_data,1);
	int ToSend = 123456789;

	if (Rx_data == 'r')
	{
		BaseType_t xHigherPriorityTaskWoken = pdFALSE;

		if (xQueueSendToFrontFromISR(SimpleQueue, &ToSend, &xHigherPriorityTaskWoken) == pdPASS)
		{
			HAL_UART_Transmit(huart, (uint8_t*)"Sent from ISR \n\r\n",17,500);
		}

		portEND_SWITCHING_ISR(xHigherPriorityTaskWoken);
	}
}
/* USER CODE END 4 */

void HAL_TIM_PeriodElapsedCallback(TIM_HandleTypeDef *htim)
{
  if (htim->Instance == TIM5) {
    HAL_IncTick();
  }
}

void Error_Handler(void)
{
  __disable_irq();
  while (1)
  {
  }
}
